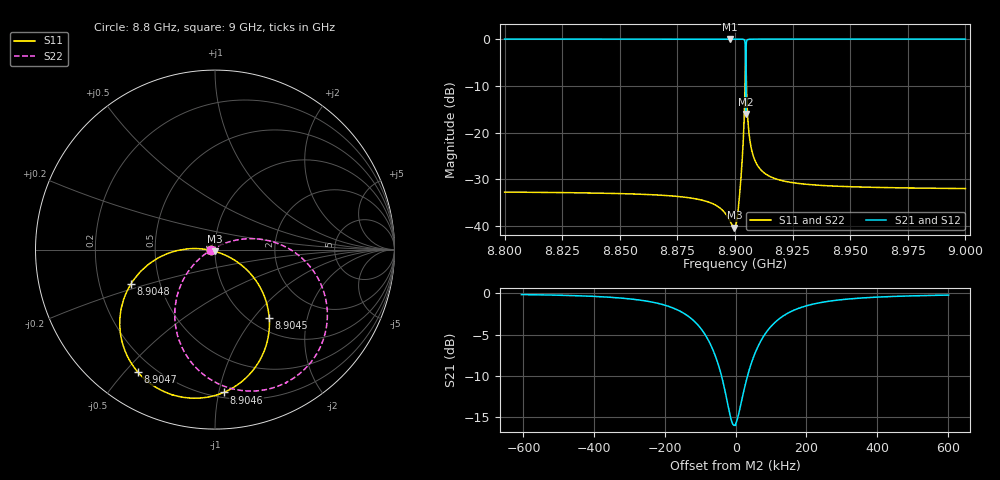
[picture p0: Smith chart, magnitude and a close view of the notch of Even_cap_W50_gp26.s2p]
! Sonnet Data File
! From: emgraph Version : 16.52
! From Project: Resonator2_cp_varyW
! Data is De-embedded
! Data File Written: 10/07/2017 09:25:24
!< HDATE 10/06/2017 17:18:21
!< MDATE 10/06/2017 17:18:21
!< PARAMS
!< gap = 26.0
!< Length = 400.0
!< Pwid1 = 2000.0
!< Pwid2 = 2000.0
!< Air_gap = 30.0
!< Width = 50.0
!< END PARAMS
# GHZ S MA R 51.80000
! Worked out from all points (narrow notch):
!   1595 points, 8.8 GHz to 9 GHz, reference 51.8 ohm
!   highest |S21| = 0.00 dB at 8.8977 GHz (marker M1); lowest = -16.0 dB at 8.9046 GHz (marker M2)
!   notch at M2: 16.0 dB deep, 102 kHz wide at half that depth
!   lowest |S11| = -40.3 dB at 8.8997 GHz (marker M3), VSWR 1.02, Z = 51.5 - j0.966 ohm
!   |S11| at or under -10 dB: start of sweep to 8.9043 GHz; 8.905 GHz to end of sweep
!   |S22| runs from -40.5 to -1.5 dB; largest |S21 - S12| = 0
!   S11 on the Smith chart (normalised r, x): 8.8 GHz: 0.96, -0.01; 8.9045 GHz: 1.21, -1.20; 8.9046 GHz: 0.24, -1.03; 8.9047 GHz: 0.14, -0.54; 8.9048 GHz: 0.34, -0.18; 9 GHz: 0.95, -0.01
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8.8  0.02321 -168.6  0.9997 -80.7  0.9997 -80.7  0.02321 -172.8
!< P1 F=8.8 Eeff=(6.4404796 -2.969e-5) Z0=(50.4071347 1.16291e-4) R=0.0 C=0.0
!< P2 F=8.8 Eeff=(6.4404796 -2.969e-5) Z0=(50.4071347 1.16291e-4) R=0.0 C=0.0
8.8334  0.02278 -168.4  0.9997 -81.0  0.9997 -81.0  0.02277 -173.6
8.8668  0.02156 -167.2  0.9998 -81.4  0.9998 -81.4  0.02156 -175.6
8.888991  0.01798 -161.8  0.9998 -81.8  0.9998 -81.8  0.01797 178.2
8.897682  0.01158 -138.4  0.9999 -82.4  0.9999 -82.4  0.0115 153.8
8.899723  0.009668 -104.3  0.9999 -82.8  0.9999 -82.8  0.009486 118.7
8.9  0.009787 -96.5  0.9998 -82.9  0.9998 -82.9  0.009585 110.6
8.901397  0.01522 -55.7  0.9997 -83.5  0.9997 -83.5  0.01495 67.5
8.902979  0.04512 -30.8  0.9982 -85.3  0.9982 -85.3  0.04478 38.1
8.903992  0.146 -29.2  0.984 -91.2  0.984 -91.2  0.1453 22.6
8.90446  0.4847 -51.5  0.8198 -111.5  0.8198 -111.5  0.4828 -5.2
8.904594  0.7972 -86.5  0.3555 -128.9  0.3555 -128.9  0.7943 -41.7
8.904641  0.8442 -106.2  0.1584 -76.7  0.1584 -76.7  0.8412 -61.8
8.904678  0.8058 -122.4  0.3364 -36.7  0.3364 -36.7  0.8029 -78.4
8.904733  0.6837 -140.8  0.6045 -40.9  0.6045 -40.9  0.6814 -97.4
8.904818  0.5061 -157.7  0.8096 -52.7  0.8096 -52.7  0.5044 -115.1
8.9052  0.2119 -178.4  0.9704 -70.7  0.9704 -70.7  0.2113 -139.1
8.906016  0.102 176.8  0.9936 -77.0  0.9936 -77.0  0.1018 -149.5
8.9094  0.04632 179.6  0.9988 -80.3  0.9988 -80.3  0.04627 -159.9
8.9334  0.02777 -173.6  0.9996 -81.6  0.9996 -81.6  0.02777 -169.6
8.9668  0.02586 -172.5  0.9997 -82.0  0.9997 -82.0  0.02586 -171.6
9  0.0253 -172.3  0.9997 -82.4  0.9997 -82.4  0.0253 -172.5
